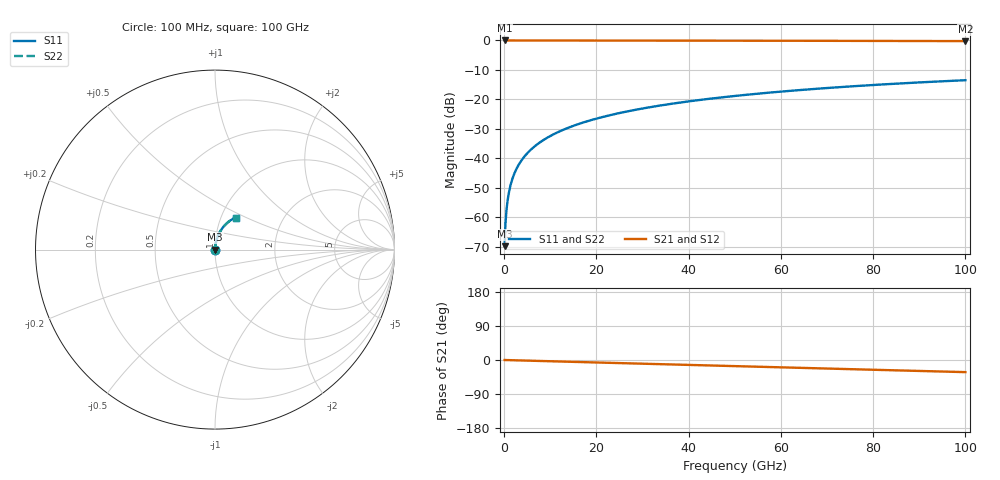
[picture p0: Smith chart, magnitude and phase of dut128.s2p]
! Touchstone file exported from HFSS 2026.1.0
!  File:  C:/ffzhzh/LocalFiles/Ansys_Project_Files/temp_train_TSV_128_1783506232_55944.aedt
!  Generated:  06:25:09 PM Jul  8, 2026
!  Design:  TSV
!  Project:  temp_train_TSV_128_1783506232_55944
! Variables:
!  h_bsmrdl = 2um
!  h_ox = 20um
!  h_rdl = 5um
!  h_sub = 53.67um
!  h_tmrdl = 5um
!  h_tsv = 53.67um
!  h_via = 3um
!  l_bsmrdl = 300um
!  l_sub = 412.94um
!  l_tmrdl = 200um
!  m_sub = 200um
!  pitch = 46.5um
!  r_tsv = 6.47um
!  s_tmrdl = 10um
!  w_bsmrdl = 18um
!  w_sub = 500um
!  w_tmrdl = 12um
!  x_tsv_center1 = 206um
!  x_tsv_center2 = 524um
!  x_tsv_center3 = 736um
!  x_tsv_center4 = 1054um
!  x_tsv_center5 = 1266um
!  x_tsv_center6 = 1584um
# GHz S MA R 50.000000
! Terminal data exported
! Port[1] = TSV1_1_T1
! Port[2] = TSV1_1_T2
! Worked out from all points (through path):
!   1000 points, 100 MHz to 100 GHz, reference 50 ohm
!   highest |S21| = 0.00 dB at 100 MHz (marker M1); lowest = -0.2 dB at 100 GHz (marker M2)
!   group delay of S21, straight-line fit = 889 fs
!   lowest |S11| = -69.7 dB at 100 MHz (marker M3), VSWR 1.00, Z = 50 + j0.027 ohm
!   |S11| at or under -10 dB: start of sweep to end of sweep
!   |S22| runs from -69.7 to -13.5 dB; largest |S21 - S12| = 4.6e-15
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0.1  0.0003255 56.0  0.9998 -0.0  0.9998 -0.0  0.0003255 56.0
! Gamma 0 0 0 0
! Port Impedance 50 0 50 0
0.4  0.001059 78.2  0.9998 -0.1  0.9998 -0.1  0.001059 78.2
0.7  0.001809 82.3  0.9998 -0.2  0.9998 -0.2  0.001809 82.3
0.8  0.002059 82.9  0.9998 -0.3  0.9998 -0.3  0.002059 82.9
1  0.00256 83.8  0.9997 -0.3  0.9997 -0.3  0.00256 83.8
1.3  0.003307 84.6  0.9997 -0.4  0.9997 -0.4  0.003307 84.6
1.7  0.004296 85.0  0.9997 -0.6  0.9997 -0.6  0.004296 85.0
2.3  0.00576 85.3  0.9996 -0.8  0.9996 -0.8  0.00576 85.3
3  0.007447 85.4  0.9995 -1.0  0.9995 -1.0  0.007447 85.4
3.8  0.009357 85.5  0.9994 -1.3  0.9994 -1.3  0.009357 85.5
4.8  0.01173 85.5  0.9993 -1.6  0.9993 -1.6  0.01173 85.5
6  0.01457 85.4  0.9992 -2.0  0.9992 -2.0  0.01457 85.4
8.8  0.02117 84.9  0.999 -2.9  0.999 -2.9  0.02117 84.9
12.4  0.02962 84.0  0.9986 -4.1  0.9986 -4.1  0.02962 84.0
16.8  0.03987 82.8  0.9981 -5.5  0.9981 -5.5  0.03987 82.8
24.2  0.05696 80.7  0.997 -7.9  0.997 -7.9  0.05696 80.7
33.4  0.07791 77.9  0.9954 -10.9  0.9954 -10.9  0.07791 77.9
41.2  0.09534 75.5  0.9937 -13.4  0.9937 -13.4  0.09534 75.5
50.1  0.1148 72.8  0.9914 -16.3  0.9914 -16.3  0.1148 72.8
66.7  0.1496 67.6  0.9865 -21.6  0.9865 -21.6  0.1496 67.6
83.4  0.1822 62.4  0.9808 -26.8  0.9808 -26.8  0.1822 62.4
100  0.2119 57.3  0.9746 -32.0  0.9746 -32.0  0.2119 57.3
